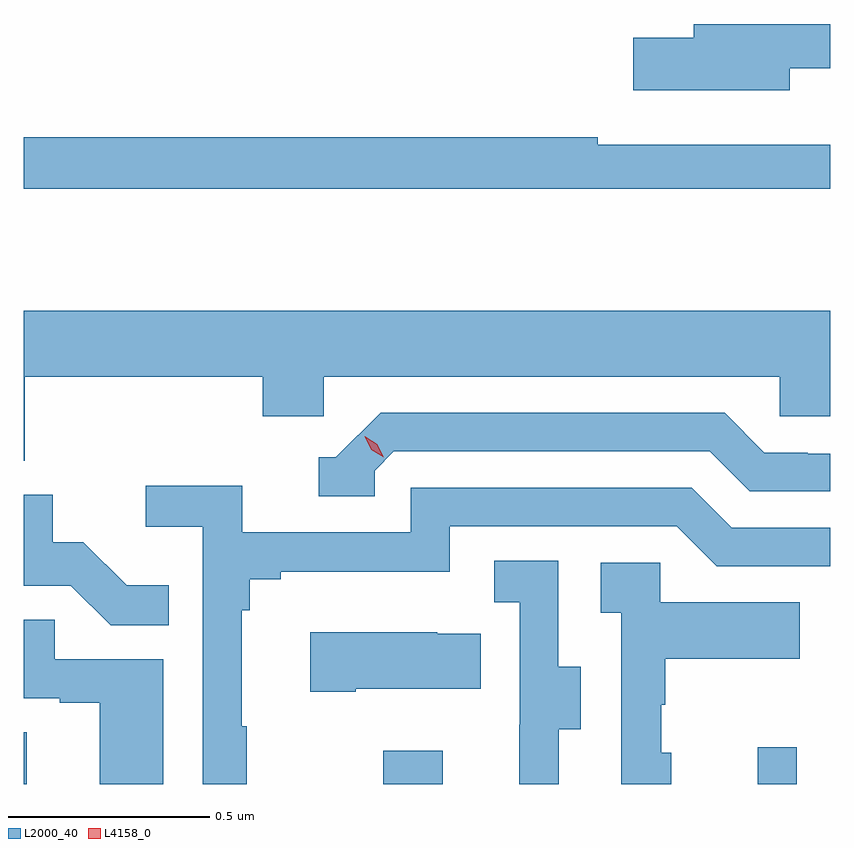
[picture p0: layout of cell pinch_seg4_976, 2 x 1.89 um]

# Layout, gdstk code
import gdstk
lib = gdstk.Library(unit=1e-6, precision=1e-09)
def R(c, l, rs):  # rectangles x0, y0, x1, y1
    for r in rs: c.add(gdstk.rectangle(r[:2], r[2:], *l))
def P(c, l, *ps):  # polygons
    for p in ps: c.add(gdstk.Polygon(p, *l))
L2000_40 = (2000, 40)
L4158_0 = (4158, 0)

pinch_seg4_976 = lib.new_cell('pinch_seg4_976')
R(pinch_seg4_976, L2000_40, [(863.79,769.17,863.797,769.298), (864.682,769.17,864.829,769.252), (865.61,769.17,865.707,769.261)])
P(pinch_seg4_976, L2000_40, [(865.69,770.945),(865.79,770.945),(865.79,771.055),(865.451,771.055),(865.451,771.021),(865.302,771.021),(865.302,770.891),(865.69,770.891)],
  [(865.79,770.755),(865.214,770.755),(865.214,770.774),(863.79,770.774),(863.79,770.646),(865.79,770.646)],
  [(863.792,770.18),(864.383,770.18),(864.383,770.082),(864.534,770.082),(864.534,770.18),(865.665,770.18),(865.665,770.082),(865.79,770.082),(865.79,770.344),(863.79,770.344),(863.79,769.972),(863.792,769.972)],
  [(864.66,769.947),(864.708,769.995),(865.491,769.995),(865.59,769.896),(865.79,769.896),(865.79,769.989),(865.734,769.989),(865.734,769.992),(865.627,769.992),(865.528,770.091),(864.675,770.091),(864.564,769.98),(864.521,769.98),(864.521,769.884),(864.66,769.884)],
  [(864.343,769.313),(864.331,769.313),(864.331,769.601),(864.35,769.601),(864.35,769.678),(864.427,769.678),(864.427,769.697),(864.846,769.697),(864.846,769.809),(865.41,769.809),(865.509,769.71),(865.79,769.71),(865.79,769.806),(865.546,769.806),(865.447,769.905),(864.75,769.905),(864.75,769.794),(864.332,769.794),(864.332,769.91),(864.093,769.91),(864.093,769.808),(864.234,769.808),(864.234,769.17),(864.343,769.17)],
  [(864.149,769.663),(864.045,769.663),(863.938,769.77),(863.862,769.77),(863.862,769.887),(863.79,769.887),(863.79,769.662),(863.907,769.662),(864.005,769.564),(864.149,769.564)],
  [(865.117,769.306),(865.171,769.306),(865.171,769.461),(865.116,769.461),(865.116,769.724),(864.957,769.724),(864.957,769.621),(865.02,769.621),(865.02,769.317),(865.019,769.317),(865.019,769.17),(865.117,769.17)],
  [(865.396,769.248),(865.371,769.248),(865.371,769.367),(865.381,769.367),(865.381,769.481),(865.715,769.481),(865.715,769.621),(865.368,769.621),(865.368,769.719),(865.221,769.719),(865.221,769.595),(865.272,769.595),(865.272,769.17),(865.396,769.17)],
  [(864.136,769.479),(863.867,769.479),(863.867,769.577),(863.79,769.577),(863.79,769.383),(863.879,769.383),(863.879,769.371),(863.978,769.371),(863.978,769.17),(864.136,769.17)],
  [(864.613,769.406),(864.923,769.406),(864.923,769.543),(864.815,769.543),(864.815,769.546),(864.501,769.546),(864.501,769.399),(864.613,769.399)])
P(pinch_seg4_976, L4158_0, [(864.683,769.98),(864.652,769.999),(864.635,770.032),(864.635,770.032),(864.636,770.032),(864.667,770.013),(864.683,769.98),(864.683,769.98)])

lib.write_gds('pinch_seg4_976.gds')
